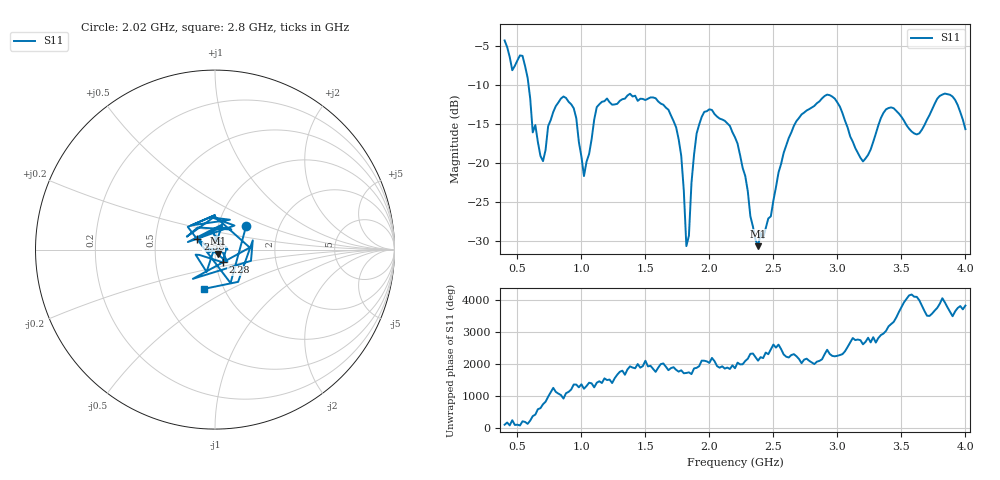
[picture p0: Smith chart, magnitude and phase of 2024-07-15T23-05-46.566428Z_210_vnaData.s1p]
!Created with skrf (http://scikit-rf.org).
# Hz S RI R 50.0
!freq ReS11 ImS11
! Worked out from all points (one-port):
!   181 points, 400 MHz to 4 GHz, reference 50 ohm
!   lowest |S11| = -30.7 dB at 2.38 GHz (marker M1), VSWR 1.06, Z = 51.9 - j2.29 ohm
!   |S11| at or under -10 dB: 586.8 MHz to end of sweep
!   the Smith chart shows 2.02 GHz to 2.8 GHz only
!   S11 on the Smith chart (normalised r, x): 2.02 GHz: 1.36, +0.38; 2.28 GHz: 1.08, -0.15; 2.58 GHz: 0.82, +0.10; 2.8 GHz: 0.81, -0.37
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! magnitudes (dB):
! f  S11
! 400 MHz  -4.3
! 460 MHz  -8.1
! 540 MHz  -6.3
! 620 MHz  -16.1
! 700 MHz  -19.8
! 860 MHz  -11.5
! 940 MHz  -13.0
! 1.02 GHz  -21.7
! 1.12 GHz  -12.9
! 1.3 GHz  -12.0
! 1.58 GHz  -11.7
! 1.76 GHz  -17.0
! 1.82 GHz  -30.7
! 1.9 GHz  -16.3
! 2.02 GHz  -13.2
! 2.2 GHz  -16.7
! 2.28 GHz  -21.7
! 2.38 GHz  -30.7
! 2.58 GHz  -18.7
! 2.66 GHz  -15.3
! 2.8 GHz  -12.9
! 2.96 GHz  -11.5
! 3.1 GHz  -16.6
! 3.2 GHz  -19.8
! 3.38 GHz  -13.1
! 3.56 GHz  -15.6
! 3.84 GHz  -11.1
! 4 GHz  -15.7
